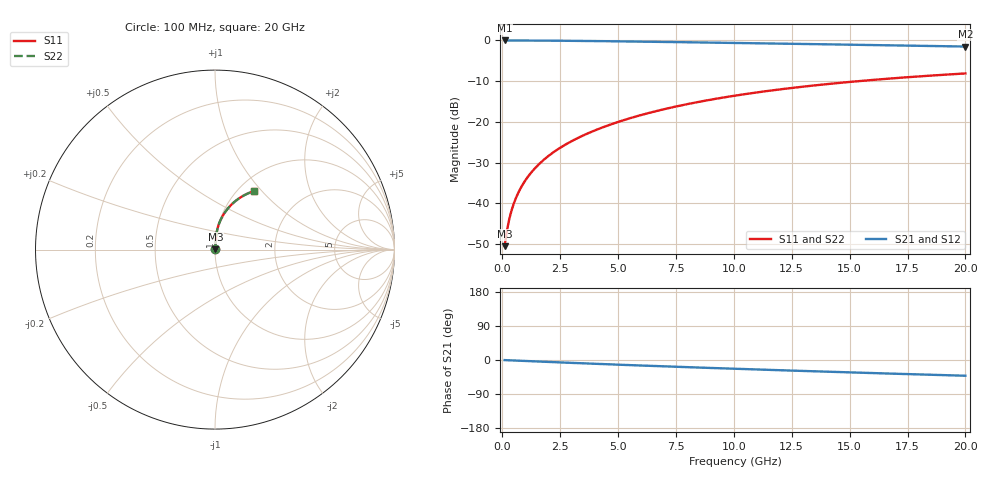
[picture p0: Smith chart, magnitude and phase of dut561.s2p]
! Touchstone file exported from HFSS 2024.1.0
!  File:  C:/UserFiles/LocalFiles/RDL_TSV_Batchsim/temp_RDL_bottom_561_1779689814.aedt
!  Generated:  02:19:19 PM May 25, 2026
!  Design:  RDL_bottom
!  Project:  temp_RDL_bottom_561_1779689814
!  Setup:  Setup1
!  Solution:  Sweep
! Variables:
!  dtsv = 10.80580581um
!  hbump = 3um
!  htsv = 55.73um
!  ldown = 572.28um
!  lrdl = 100um
!  p = 40
!  p1 = 58.56um
!  rhole = 1um
!  t = 450um
!  tdown = 4.36um
!  trdl = 3.915915916um
!  wdown = 23.47um
!  wrdl = 20um
# GHz S MA R 50.000000
! Terminal data exported
! Port[1] = RDL1_T1
! Port[2] = RDL1_T2
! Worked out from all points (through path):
!   200 points, 100 MHz to 20 GHz, reference 50 ohm
!   highest |S21| = -0.02 dB at 100 MHz (marker M1); lowest = -1.5 dB at 20 GHz (marker M2)
!   group delay of S21, straight-line fit = 5.71 ps
!   lowest |S11| = -50.5 dB at 100 MHz (marker M3), VSWR 1.01, Z = 50.2 + j0.206 ohm
!   |S11| at or under -10 dB: start of sweep to 15.39 GHz
!   |S22| runs from -50.5 to -8.1 dB; largest |S21 - S12| = 3.4e-15
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0.1  0.002982 43.5  0.9978 -0.3  0.9978 -0.3  0.002982 43.5
! Gamma 0 0 0 0
! Port Impedance 50 0 50 0
0.2  0.004633 60.5  0.9977 -0.5  0.9977 -0.5  0.004633 60.5
0.3  0.006405 68.0  0.9975 -0.8  0.9975 -0.8  0.006405 68.0
0.4  0.008198 72.3  0.9973 -1.0  0.9973 -1.0  0.008198 72.3
0.5  0.01 75.1  0.9972 -1.3  0.9972 -1.3  0.01 75.1
0.6  0.01182 77.2  0.997 -1.6  0.997 -1.6  0.01182 77.2
0.8  0.0155 80.0  0.9966 -2.1  0.9966 -2.1  0.0155 80.0
1.1  0.02109 82.4  0.9959 -2.8  0.9959 -2.8  0.02109 82.4
1.5  0.02866 84.1  0.9947 -3.9  0.9947 -3.9  0.02866 84.1
1.8  0.03441 84.8  0.9936 -4.6  0.9936 -4.6  0.03441 84.8
2.1  0.04023 85.2  0.9923 -5.4  0.9923 -5.4  0.04023 85.2
2.7  0.05205 85.7  0.9893 -6.9  0.9893 -6.9  0.05205 85.7
3.5  0.06823 85.6  0.9844 -8.8  0.9844 -8.8  0.06823 85.6
4.2  0.08277 85.2  0.9795 -10.5  0.9795 -10.5  0.08276 85.2
5  0.09975 84.3  0.9735 -12.3  0.9735 -12.3  0.09974 84.3
6.8  0.1389 81.7  0.9586 -16.3  0.9586 -16.3  0.1389 81.7
8.4  0.174 78.8  0.9448 -19.8  0.9448 -19.8  0.174 78.8
10.1  0.2108 75.4  0.9298 -23.2  0.9298 -23.2  0.2108 75.4
11.7  0.2444 72.2  0.9154 -26.4  0.9154 -26.4  0.2444 72.2
13.4  0.2785 68.7  0.9001 -29.7  0.9001 -29.7  0.2785 68.7
16.7  0.3395 62.2  0.8701 -35.8  0.8701 -35.8  0.3394 62.2
20  0.3929 56.2  0.8402 -41.5  0.8402 -41.5  0.3928 56.1
